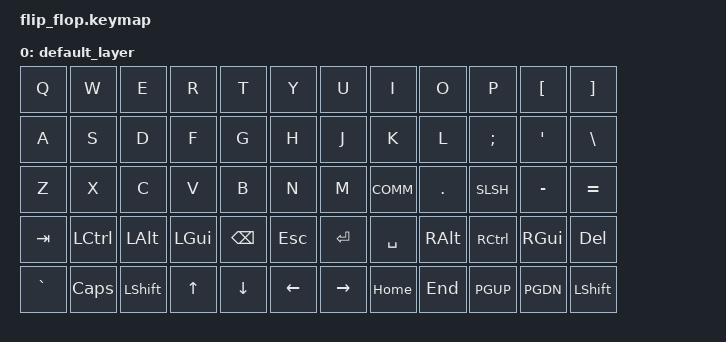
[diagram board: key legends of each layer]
/ {
    keymap {
        compatible = "zmk,keymap";

        default_layer {
            bindings = <
                &kp Q &kp W &kp E &kp R &kp T &kp Y    &kp U &kp I &kp O &kp P &kp LBKT &kp RBKT
                &kp A &kp S &kp D &kp F &kp G &kp H    &kp J &kp K &kp L &kp SCLN &kp QUOT &kp BSLH
                &kp Z &kp X &kp C &kp V &kp B &kp N    &kp M &kp COMM &kp DOT &kp SLSH &kp MINUS &kp EQUAL
                &kp TAB &kp LCTRL &kp LALT &kp LGUI &kp BSPC &kp ESC    &kp ENTER &kp SPC &kp RALT &kp RCTRL &kp RGUI &kp DEL
                &kp GRAVE &kp CAPS &kp LSHFT &kp UP &kp DOWN &kp LEFT    &kp RIGHT &kp HOME &kp END &kp PGUP &kp PGDN &kp LSHFT
            >;
        };
    };
};
